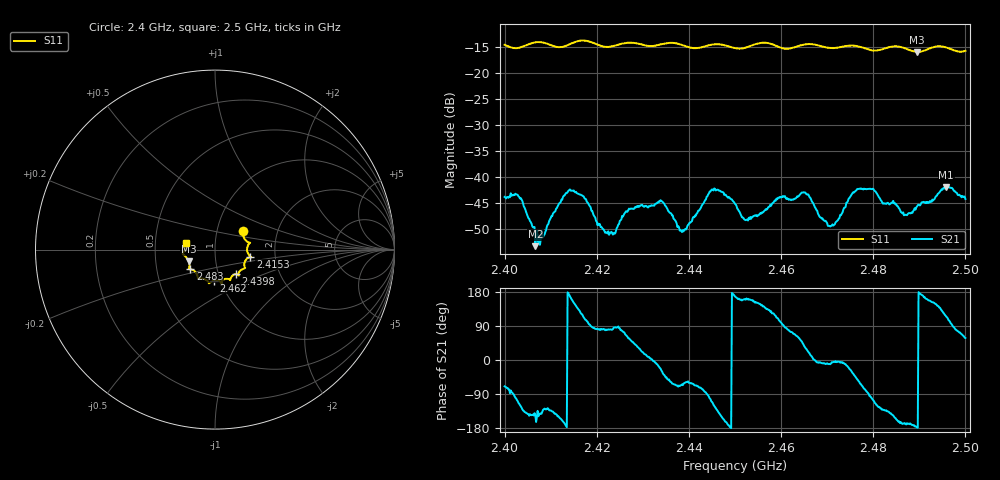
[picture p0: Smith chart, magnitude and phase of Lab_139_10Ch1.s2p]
# Hz S RI R 50
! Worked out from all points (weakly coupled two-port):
!   601 points, 2.4 GHz to 2.5 GHz, reference 50 ohm
!   highest |S21| = -41.94 dB at 2.4958 GHz (marker M1); lowest = -53.3 dB at 2.4067 GHz (marker M2)
!   lowest |S11| = -15.9 dB at 2.4895 GHz (marker M3), VSWR 1.38, Z = 36.9 - j5 ohm
!   |S11| at or under -10 dB: start of sweep to end of sweep
!   S12 and S22 are empty: the file has one direction only
!   S11 on the Smith chart (normalised r, x): 2.4 GHz: 1.33, +0.29; 2.4153 GHz: 1.48, -0.12; 2.4398 GHz: 1.21, -0.34; 2.462 GHz: 0.93, -0.33; 2.483 GHz: 0.74, -0.17; 2.5 GHz: 0.72, +0.06
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2.4e9  0.1551 0.1063  0.00225 -0.00601  0 0  0 0
2.403167e9  0.1667 0.0572  -0.00278 -0.00578  0 0  0 0
2.406667e9  0.195 0.038  -0.00179 -0.0012  0 0  0 0
2.408167e9  0.1948 0.0374  -0.00191 -0.00176  0 0  0 0
2.415333e9  0.1966 -0.0384  -0.00584 0.00405  0 0  0 0
2.416667e9  0.2023 -0.0426  -0.00351 0.00568  0 0  0 0
2.423167e9  0.1631 -0.0781  0.000508 0.00292  0 0  0 0
2.426833e9  0.1682 -0.1022  0.00257 0.00405  0 0  0 0
2.433333e9  0.1312 -0.1334  0.00547 -0.00145  0 0  0 0
2.439833e9  0.1152 -0.1365  0.00192 -0.00288  0 0  0 0
2.445167e9  0.0847 -0.1692  -0.00303 -0.00691  0 0  0 0
2.45e9  0.0647 -0.1624  -0.00538 0.00117  0 0  0 0
2.452667e9  0.0399 -0.174  -0.00366 0.00133  0 0  0 0
2.462e9  -0.00527 -0.1732  0.00158 0.00586  0 0  0 0
2.466667e9  -0.0343 -0.1875  0.00576 0.000917  0 0  0 0
2.470667e9  -0.0547 -0.1662  0.00327 -0.000644  0 0  0 0
2.476833e9  -0.0956 -0.154  0.00428 -0.00635  0 0  0 0
2.483e9  -0.1377 -0.1098  -0.00398 -0.00393  0 0  0 0
2.483333e9  -0.1402 -0.1096  -0.00402 -0.00382  0 0  0 0
2.4895e9  -0.1463 -0.0659  -0.00521 -0.000179  0 0  0 0
2.495833e9  -0.1765 -0.0161  -0.00334 0.00726  0 0  0 0
2.5e9  -0.1597 0.0393  0.00326 0.0052  0 0  0 0
